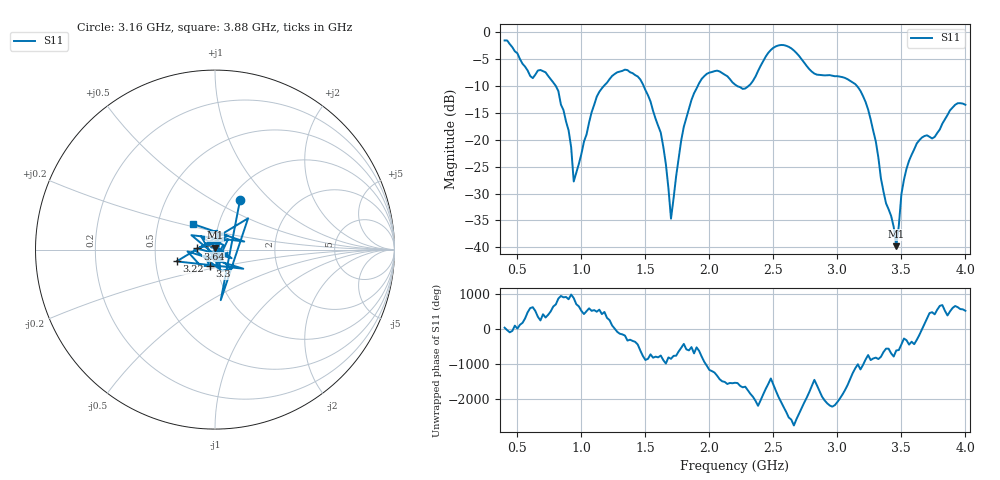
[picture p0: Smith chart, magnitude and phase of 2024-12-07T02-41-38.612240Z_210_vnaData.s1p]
!Created with skrf (http://scikit-rf.org).
# Hz S RI R 50.0
!freq ReS11 ImS11
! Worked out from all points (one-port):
!   181 points, 400 MHz to 4 GHz, reference 50 ohm
!   lowest |S11| = -39.8 dB at 3.46 GHz (marker M1), VSWR 1.02, Z = 49.9 + j1.02 ohm
!   |S11| at or under -10 dB: 798.7 MHz to 1.177 GHz (378.7 MHz wide, 38.3 % of centre); 1.485 GHz to 1.91 GHz (425 MHz wide, 25 % of centre); 3.151 GHz to end of sweep (the widest 3 of 4)
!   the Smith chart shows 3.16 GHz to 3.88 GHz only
!   S11 on the Smith chart (normalised r, x): 3.16 GHz: 1.11, +0.67; 3.22 GHz: 0.64, -0.09; 3.3 GHz: 0.93, -0.17; 3.64 GHz: 0.82, +0.01; 3.88 GHz: 0.76, +0.22
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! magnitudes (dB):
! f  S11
! 400 MHz  -1.6
! 620 MHz  -8.6
! 720 MHz  -7.5
! 860 MHz  -14.5
! 920 MHz  -21.4
! 940 MHz  -27.8
! 1.12 GHz  -12.0
! 1.3 GHz  -7.4
! 1.54 GHz  -12.9
! 1.64 GHz  -21.4
! 1.7 GHz  -34.7
! 1.76 GHz  -23.4
! 1.86 GHz  -12.6
! 1.94 GHz  -8.7
! 2.2 GHz  -9.8
! 2.32 GHz  -9.8
! 2.5 GHz  -3.0
! 2.66 GHz  -3.5
! 3.1 GHz  -9.1
! 3.16 GHz  -10.3
! 3.22 GHz  -13.0
! 3.3 GHz  -20.3
! 3.46 GHz  -39.8
! 3.5 GHz  -30.1
! 3.56 GHz  -23.9
! 3.64 GHz  -20.1
! 3.88 GHz  -14.6
! 4 GHz  -13.5
